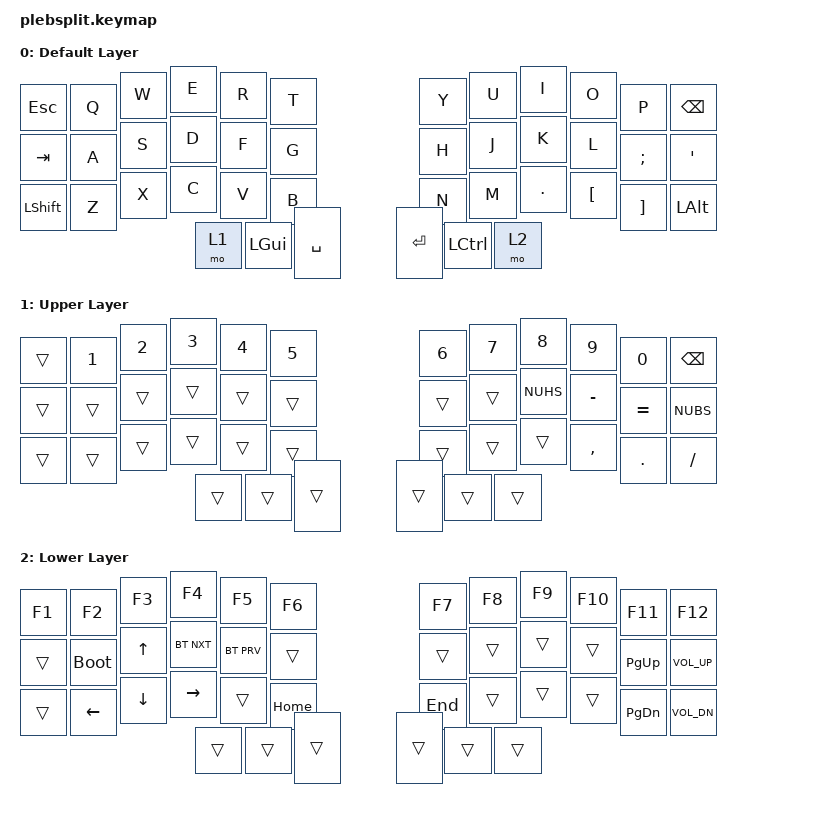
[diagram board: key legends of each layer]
#include <behaviors.dtsi>
#include <dt-bindings/zmk/keys.h>
#include <dt-bindings/zmk/bt.h>

/ {
    keymap {
        compatible = "zmk,keymap";

        default_layer {
            display-name = "Default Layer";

            //╭─────┬─────┬─────┬─────┬─────┬─────╮    ╭─────┬─────┬─────┬─────┬─────┬─────╮
            //│ ESC │  Q  │  W  │  E  │  R  │  T  │    │  Y  │  U  │  I  │  O  │  P  │ BCK │ 
            //├─────┼─────┼─────┼─────┼─────┼─────┤    ├─────┼─────┼─────┼─────┼─────┼─────┤
            //│ TAB │  A  │  S  │  D  │  F  │  G  │    │  H  │  J  │  K  │  L  │  ;  │  '  │
            //├─────┼─────┼─────┼─────┼─────┤─────┤    ├─────┼─────┼─────┼─────┼─────┤─────┤
            //│ Sft │  Z  │  X  │  C  │  V  │  B  │    │  N  │  M  │  .  │  [  │  ]  │ Alt │
            //╰─────┴─────┴─────┼─────┼─────┤─────┤    ├─────┼─────┼─────┼─────┴─────┴─────╯
            //                  │ Up  │ Win │ Spc │    │ Ret │ Ctl │ Dwn │
            //                  ╰─────┴─────┴─────╯    ╰─────┴─────┴─────╯

            bindings = <
                &kp ESC    &kp Q     &kp W     &kp E     &kp R     &kp T          &kp Y     &kp U     &kp I     &kp O     &kp P     &kp BSPC
                &kp TAB    &kp A     &kp S     &kp D     &kp F     &kp G          &kp H     &kp J     &kp K     &kp L     &kp SEMI  &kp APOS
                &kp LSHFT  &kp Z     &kp X     &kp C     &kp V     &kp B          &kp N     &kp M     &kp DOT   &kp LBKT  &kp RBKT  &kp LALT
                                               &mo 1     &kp LGUI  &kp SPACE      &kp RET   &kp LCTRL &mo 2
            >;
        };

        up_layer {
            display-name = "Upper Layer";

            //╭─────┬─────┬─────┬─────┬─────┬─────╮    ╭─────┬─────┬─────┬─────┬─────┬─────╮
            //│ ESC │  1  │  2  │  3  │  4  │  5  │    │  6  │  7  │  8  │  9  │  0  │ BCK │ 
            //├─────┼─────┼─────┼─────┼─────┼─────┤    ├─────┼─────┼─────┼─────┼─────┼─────┤
            //│ TAB │     │     │     │     │     │    │     │     │  #  │  -  │  =  │  \  │
            //├─────┼─────┼─────┼─────┼─────┤─────┤    ├─────┼─────┼─────┼─────┼─────┤─────┤
            //│ Sft │     │     │     │     │     │    │     │     │     │  ,  │  .  │  /  │
            //╰─────┴─────┴─────┼─────┼─────┤─────┤    ├─────┼─────┼─────┼─────┴─────┴─────╯
            //                  │ Up  │ Win │ Spc │    │ Ret │ Ctl │ Dwn │
            //                  ╰─────┴─────┴─────╯    ╰─────┴─────┴─────╯

            bindings = <
                &trans     &kp N1    &kp N2    &kp N3    &kp N4    &kp N5         &kp N6    &kp N7    &kp N8    &kp N9    &kp N0    &kp BSPC
                &trans     &trans    &trans    &trans    &trans    &trans         &trans    &trans    &kp NUHS  &kp MINUS &kp EQUAL &kp NUBS
                &trans     &trans    &trans    &trans    &trans    &trans         &trans    &trans    &trans    &kp COMMA &kp DOT   &kp FSLH
                                               &trans    &trans    &trans         &trans    &trans    &trans
            >;

        };

        down_layer {
            display-name = "Lower Layer";

            //╭─────┬─────┬─────┬─────┬─────┬─────╮    ╭─────┬─────┬─────┬─────┬─────┬─────╮
            //│ F1  │ F2  │ F3  │ F4  │ F5  │ F6  │    │ F7  │ F8  │ F9  │ F10 │ F11 │ F12 │ 
            //├─────┼─────┼─────┼─────┼─────┼─────┤    ├─────┼─────┼─────┼─────┼─────┼─────┤
            //│ TAB │ RST │  ↑  │ BTN │ BTP │     │    │     │     │     │     │ PUP │ VUP │
            //├─────┼─────┼─────┼─────┼─────┤─────┤    ├─────┼─────┼─────┼─────┼─────┤─────┤
            //│ Sft │  ←  │  ↓  │  →  │     │ HME │    │ END │     │     │     │ PDW │ VDW │
            //╰─────┴─────┴─────┼─────┼─────┤─────┤    ├─────┼─────┼─────┼─────┴─────┴─────╯
            //                  │ Up  │ Win │ Spc │    │ Ret │ Ctl │ Dwn │
            //                  ╰─────┴─────┴─────╯    ╰─────┴─────┴─────╯

            bindings = <
                &kp F1     &kp F2    &kp F3    &kp F4    &kp F5    &kp F6         &kp F7    &kp F8    &kp F9    &kp F10   &kp F11   &kp F12
                &trans   &bootloader &kp UP    &bt BT_NXT &bt BT_PRV &trans         &trans    &trans    &trans    &trans    &kp PG_UP &kp C_VOL_UP
                &trans     &kp LEFT  &kp DOWN  &kp RIGHT &trans    &kp HOME       &kp END   &trans    &trans    &trans    &kp PG_DN &kp C_VOL_DN
                                               &trans    &trans    &trans         &trans    &trans    &trans
            >;
        };
    };
};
